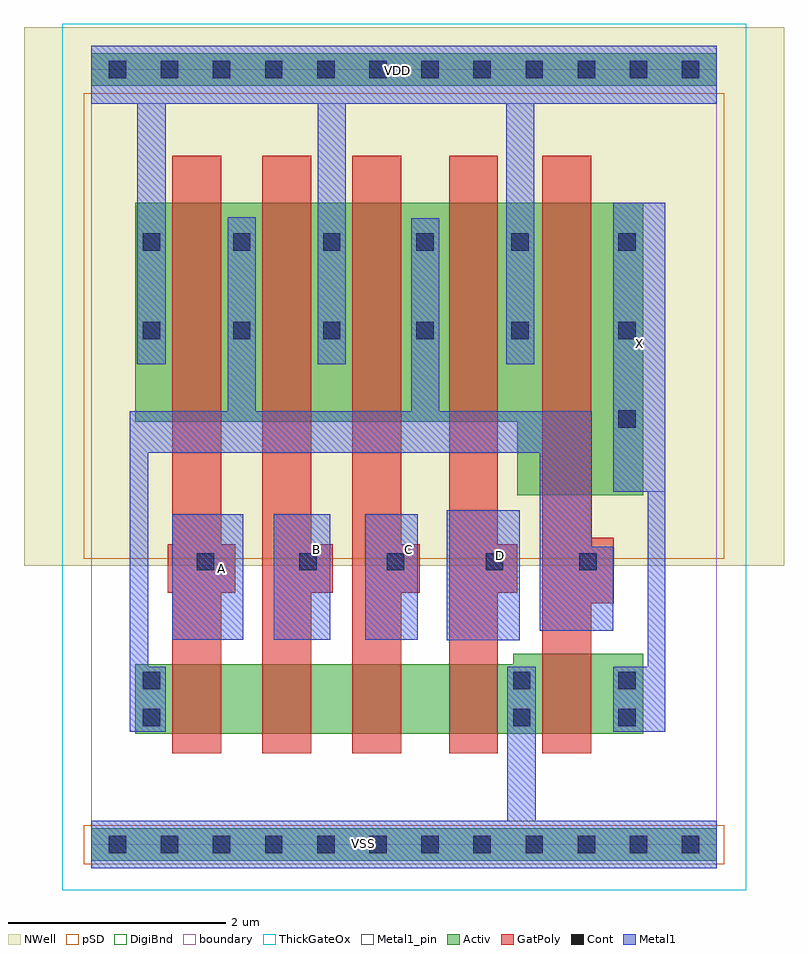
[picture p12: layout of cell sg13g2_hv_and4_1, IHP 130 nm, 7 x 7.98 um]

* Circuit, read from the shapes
.subckt sg13g2_hv_and4_1 A B C D VDD VSS X
XM1 n1 A n2 VSS sg13_hv_nmos w=0.64u l=0.45u
XM2 n3 B n1 VSS sg13_hv_nmos w=0.64u l=0.45u
XM3 n4 C n3 VSS sg13_hv_nmos w=0.64u l=0.45u
XM4 VSS D n4 VSS sg13_hv_nmos w=0.64u l=0.45u
XM5 X n2 VSS VSS sg13_hv_nmos w=0.74u l=0.45u
XM6 n2 A VDD VDD sg13_hv_pmos w=2.015u l=0.45u
XM7 VDD B n2 VDD sg13_hv_pmos w=2.015u l=0.45u
XM8 n2 C VDD VDD sg13_hv_pmos w=2.015u l=0.45u
XM9 VDD D n2 VDD sg13_hv_pmos w=2.015u l=0.45u
XM10 X n2 VDD VDD sg13_hv_pmos w=2.69u l=0.45u
.ends

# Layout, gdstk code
import gdstk
lib = gdstk.Library(unit=1e-6, precision=1e-09)
def R(c, l, rs):  # rectangles x0, y0, x1, y1
    for r in rs: c.add(gdstk.rectangle(r[:2], r[2:], *l))
def A(c, l, x, y, w, h, nx, ny, dx, dy):  # array of equal rectangles
    R(c, l, [(x+i*dx, y+j*dy, x+i*dx+w, y+j*dy+h) for i in range(nx) for j in range(ny)])
def P(c, l, *ps):  # polygons
    for p in ps: c.add(gdstk.Polygon(p, *l))
Activ = (1, 0)
GatPoly = (5, 0)
Cont = (6, 0)
Metal1 = (8, 0)
Metal1_pin = (8, 2)
pSD = (14, 0)
DigiBnd = (16, 0)
NWell = (31, 0)
ThickGateOx = (44, 0)
boundary = (189, 4)

sg13g2_hv_and4_1 = lib.new_cell('sg13g2_hv_and4_1')
R(sg13g2_hv_and4_1, Activ, [(0,-0.15,5.76,0.15), (0,6.99,5.76,7.29)])
P(sg13g2_hv_and4_1, Activ, [(0.405,1.02),(0.405,1.66),(3.885,1.66),(3.885,1.76),(5.085,1.76),(5.085,1.02)],
  [(3.925,3.22),(3.925,3.895),(0.405,3.895),(0.405,5.91),(5.085,5.91),(5.085,3.22)])
P(sg13g2_hv_and4_1, GatPoly, [(4.155,0.84),(4.155,6.345),(4.605,6.345),(4.605,2.825),(4.81,2.825),(4.81,2.225),(4.605,2.225),(4.605,0.84)],
  [(0.745,0.84),(0.745,2.32),(0.705,2.32),(0.705,2.765),(0.745,2.765),(0.745,6.345),(1.195,6.345),(1.195,2.765),(1.325,2.765),(1.325,2.32),(1.195,2.32),(1.195,0.84)],
  [(1.575,0.84),(1.575,6.345),(2.025,6.345),(2.025,2.765),(2.225,2.765),(2.225,2.32),(2.025,2.32),(2.025,0.84)],
  [(2.405,0.84),(2.405,6.345),(2.855,6.345),(2.855,2.765),(3.025,2.765),(3.025,2.32),(2.855,2.32),(2.855,0.84)],
  [(3.295,0.84),(3.295,6.345),(3.745,6.345),(3.745,2.765),(3.925,2.765),(3.925,2.32),(3.745,2.32),(3.745,0.84)])
A(sg13g2_hv_and4_1, Cont, 0.16, -0.08, 0.16, 0.16, 12, 2, 0.48, 7.14)
A(sg13g2_hv_and4_1, Cont, 4.855, 3.84, 0.16, 0.16, 1, 3, 0, 0.815)
A(sg13g2_hv_and4_1, Cont, 0.475, 4.655, 0.16, 0.16, 3, 2, 0.83, 0.815)
R(sg13g2_hv_and4_1, Cont, [(0.475,1.09,0.635,1.25), (3.885,1.09,4.045,1.25), (4.855,1.09,5.015,1.25), (0.475,1.43,0.635,1.59), (3.885,1.43,4.045,1.59), (4.855,1.43,5.015,1.59), (0.97,2.525,1.13,2.685), (1.915,2.525,2.075,2.685), (2.72,2.525,2.88,2.685), (3.635,2.525,3.795,2.685), (4.495,2.525,4.655,2.685), (2.995,4.655,3.155,4.815), (3.87,4.655,4.03,4.815), (2.995,5.47,3.155,5.63), (3.87,5.47,4.03,5.63)])
R(sg13g2_hv_and4_1, Metal1, [(3.275,1.88,3.945,3.08), (0.745,1.885,1.4,3.045), (1.68,1.885,2.2,3.045), (2.525,1.885,3.005,3.045)])
P(sg13g2_hv_and4_1, Metal1, [(0,-0.22),(0,0.22),(3.83,0.22),(3.83,1.64),(4.095,1.64),(4.095,0.22),(5.76,0.22),(5.76,-0.22)],
  [(0.355,1.04),(0.355,3.99),(1.255,3.99),(1.255,5.78),(1.515,5.78),(1.515,3.99),(2.945,3.99),(2.945,5.77),(3.205,5.77),(3.205,3.99),(4.61,3.99),(4.61,2.745),(4.805,2.745),(4.805,1.97),(4.13,1.97),(4.13,3.61),(0.525,3.61),(0.525,1.64),(0.685,1.64),(0.685,1.04)],
  [(4.805,1.04),(4.805,1.64),(5.125,1.64),(5.125,3.25),(4.805,3.25),(4.805,5.91),(5.285,5.91),(5.285,1.04)],
  [(0.425,4.425),(0.425,6.825),(0,6.825),(0,7.36),(5.76,7.36),(5.76,6.825),(4.08,6.825),(4.08,4.425),(3.82,4.425),(3.82,6.825),(2.345,6.825),(2.345,4.425),(2.085,4.425),(2.085,6.825),(0.685,6.825),(0.685,4.425)])
R(sg13g2_hv_and4_1, Metal1_pin, [(0,-0.22,5.76,0.22), (3.275,1.88,3.945,3.08), (0.745,1.885,1.4,3.045), (1.68,1.885,2.2,3.045), (2.525,1.885,3.005,3.045), (4.805,3.25,5.285,5.91), (0,6.825,5.76,7.36)])
R(sg13g2_hv_and4_1, pSD, [(-0.07,-0.18,5.83,0.18), (-0.07,2.635,5.83,6.92)])
R(sg13g2_hv_and4_1, DigiBnd, [(0,0,5.76,7.14)])
R(sg13g2_hv_and4_1, NWell, [(-0.62,2.57,6.38,7.53)])
R(sg13g2_hv_and4_1, ThickGateOx, [(-0.27,-0.42,6.03,7.56)])
R(sg13g2_hv_and4_1, boundary, [(0,0,5.76,7.14)])
sg13g2_hv_and4_1.add(gdstk.Label('X', (5.05,4.615), layer=8, texttype=25))
sg13g2_hv_and4_1.add(gdstk.Label('B', (2.07,2.715), layer=8, texttype=25))
sg13g2_hv_and4_1.add(gdstk.Label('A', (1.195,2.54), layer=8, texttype=25))
sg13g2_hv_and4_1.add(gdstk.Label('VDD', (2.82,7.13), layer=8, texttype=25))
sg13g2_hv_and4_1.add(gdstk.Label('VSS', (2.51,0.01), layer=8, texttype=25))
sg13g2_hv_and4_1.add(gdstk.Label('C', (2.925,2.715), layer=8, texttype=25))
sg13g2_hv_and4_1.add(gdstk.Label('D', (3.77,2.66), layer=8, texttype=25))

lib.write_gds('sg13g2_hv_and4_1.gds')
